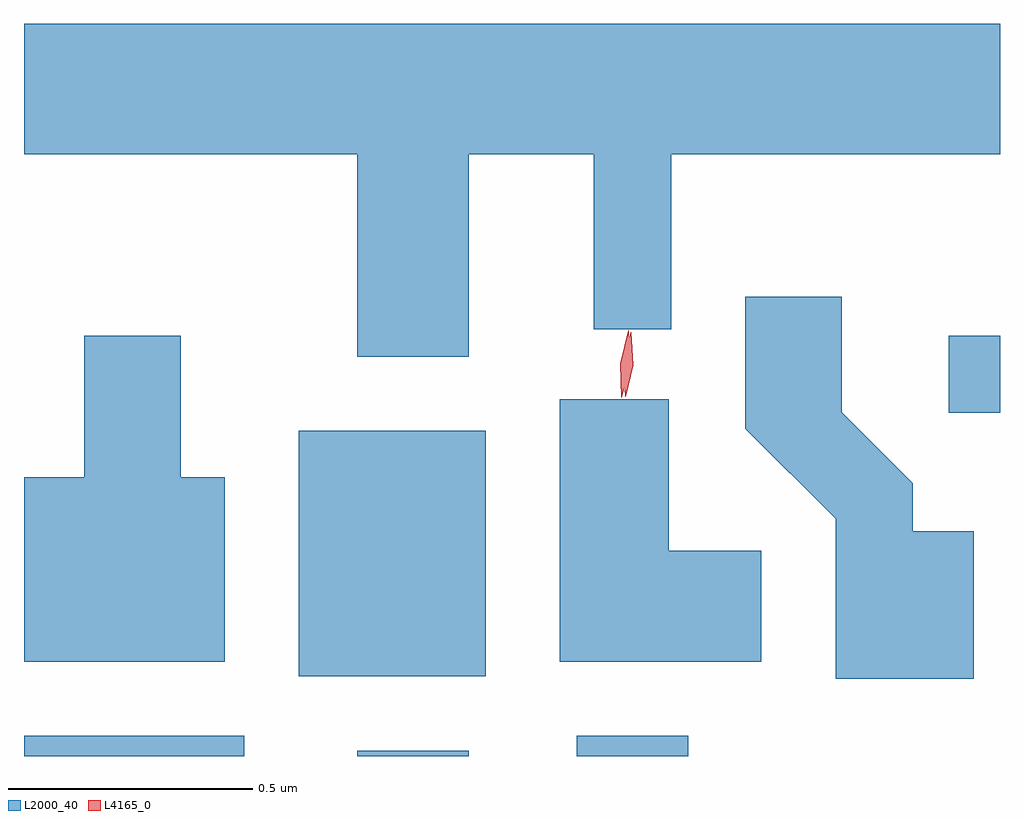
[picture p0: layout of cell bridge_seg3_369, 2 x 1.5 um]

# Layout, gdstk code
import gdstk
lib = gdstk.Library(unit=1e-6, precision=1e-09)
def R(c, l, rs):  # rectangles x0, y0, x1, y1
    for r in rs: c.add(gdstk.rectangle(r[:2], r[2:], *l))
def P(c, l, *ps):  # polygons
    for p in ps: c.add(gdstk.Polygon(p, *l))
L2000_40 = (2000, 40)
L4165_0 = (4165, 0)

bridge_seg3_369 = lib.new_cell('bridge_seg3_369')
R(bridge_seg3_369, L2000_40, [(684.458,1226.902,684.909,1226.944), (685.141,1226.902,685.369,1226.914), (685.591,1226.902,685.819,1226.944), (685.021,1227.066,685.404,1227.569), (686.353,1227.606,686.458,1227.764)])
P(bridge_seg3_369, L2000_40, [(685.369,1228.136),(685.626,1228.136),(685.626,1227.778),(685.784,1227.778),(685.784,1228.136),(686.458,1228.136),(686.458,1228.404),(684.458,1228.404),(684.458,1228.136),(685.141,1228.136),(685.141,1227.721),(685.369,1227.721)],
  [(686.404,1227.364),(686.279,1227.364),(686.279,1227.462),(686.134,1227.607),(686.134,1227.844),(685.936,1227.844),(685.936,1227.574),(686.121,1227.389),(686.121,1227.061),(686.404,1227.061)],
  [(684.869,1227.474),(684.779,1227.474),(684.779,1227.764),(684.581,1227.764),(684.581,1227.474),(684.458,1227.474),(684.458,1227.096),(684.869,1227.096)],
  [(685.969,1227.324),(685.779,1227.324),(685.779,1227.634),(685.556,1227.634),(685.556,1227.096),(685.969,1227.096)])
P(bridge_seg3_369, L4165_0, [(685.683,1227.637),(685.682,1227.638),(685.68,1227.707),(685.696,1227.774),(685.696,1227.775),(685.697,1227.774),(685.7,1227.705),(685.683,1227.638)],
  [(685.69,1227.639),(685.69,1227.639),(685.686,1227.706),(685.701,1227.771),(685.701,1227.771),(685.702,1227.771),(685.706,1227.704),(685.691,1227.639)])

lib.write_gds('bridge_seg3_369.gds')
